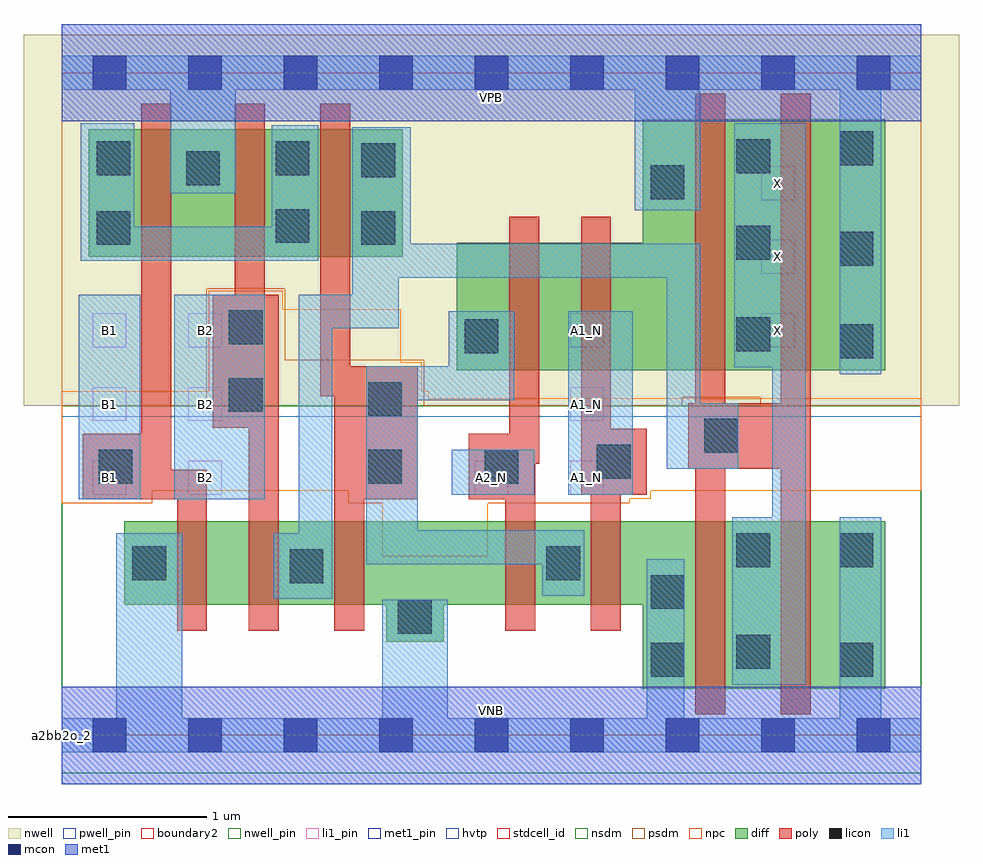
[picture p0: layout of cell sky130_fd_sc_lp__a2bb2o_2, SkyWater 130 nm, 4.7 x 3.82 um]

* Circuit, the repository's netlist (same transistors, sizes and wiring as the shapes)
* Copyright 2020 The SkyWater PDK Authors
*
* Licensed under the Apache License, Version 2.0 (the "License");
* you may not use this file except in compliance with the License.
* You may obtain a copy of the License at
*
*     https://www.apache.org/licenses/LICENSE-2.0
*
* Unless required by applicable law or agreed to in writing, software
* distributed under the License is distributed on an "AS IS" BASIS,
* WITHOUT WARRANTIES OR CONDITIONS OF ANY KIND, either express or implied.
* See the License for the specific language governing permissions and
* limitations under the License.
*
* SPDX-License-Identifier: Apache-2.0

.SUBCKT sky130_fd_sc_lp__a2bb2o_2 A1_N A2_N B1 B2 VGND VNB VPB VPWR X
*.PININFO A1_N:I A2_N:I B1:I B2:I VGND:I VNB:I VPB:I VPWR:I X:O
MMIN2 X y VGND VNB sky130_fd_pr__nfet_01v8 m=2 w=0.84U l=0.15U mult=1 sa=0.265
+ sb=0.265 sd=0.28 area=0.063 perim=1.14
MMNnor0 inor A1_N VGND VNB sky130_fd_pr__nfet_01v8 m=1 w=0.42U l=0.15U mult=1 sa=0.265
+ sb=0.265 sd=0.28 area=0.063 perim=1.14
MMNnor1 inor A2_N VGND VNB sky130_fd_pr__nfet_01v8 m=1 w=0.42U l=0.15U mult=1 sa=0.265
+ sb=0.265 sd=0.28 area=0.063 perim=1.14
MMNaoi10 VGND B1 sndNB1 VNB sky130_fd_pr__nfet_01v8 m=1 w=0.42U l=0.15U mult=1
+ sa=0.265 sb=0.265 sd=0.28 area=0.063 perim=1.14
MMNaoi11 sndNB1 B2 y VNB sky130_fd_pr__nfet_01v8 m=1 w=0.42U l=0.15U mult=1 sa=0.265
+ sb=0.265 sd=0.28 area=0.063 perim=1.14
MMNaoi20 y inor VGND VNB sky130_fd_pr__nfet_01v8 m=1 w=0.42U l=0.15U mult=1 sa=0.265
+ sb=0.265 sd=0.28 area=0.063 perim=1.14
MMIP2 X y VPWR VPB sky130_fd_pr__pfet_01v8_hvt m=2 w=1.26U l=0.15U mult=1 sa=0.265
+ sb=0.265 sd=0.28 area=0.063 perim=1.14
MMPnor0 VPWR A1_N sndPA1N VPB sky130_fd_pr__pfet_01v8_hvt m=1 w=0.64U l=0.15U mult=1
+ sa=0.265 sb=0.265 sd=0.28 area=0.063 perim=1.14
MMPnor1 sndPA1N A2_N inor VPB sky130_fd_pr__pfet_01v8_hvt m=1 w=0.64U l=0.15U mult=1
+ sa=0.265 sb=0.265 sd=0.28 area=0.063 perim=1.14
MMPaoi10 pmid B1 VPWR VPB sky130_fd_pr__pfet_01v8_hvt m=1 w=0.64U l=0.15U mult=1
+ sa=0.265 sb=0.265 sd=0.28 area=0.063 perim=1.14
MMPaoi11 pmid B2 VPWR VPB sky130_fd_pr__pfet_01v8_hvt m=1 w=0.64U l=0.15U mult=1
+ sa=0.265 sb=0.265 sd=0.28 area=0.063 perim=1.14
MMPaoi20 y inor pmid VPB sky130_fd_pr__pfet_01v8_hvt m=1 w=0.64U l=0.15U mult=1
+ sa=0.265 sb=0.265 sd=0.28 area=0.063 perim=1.14
.ENDS sky130_fd_sc_lp__a2bb2o_2

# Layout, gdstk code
import gdstk
lib = gdstk.Library(unit=1e-6, precision=1e-09)
def R(c, l, rs):  # rectangles x0, y0, x1, y1
    for r in rs: c.add(gdstk.rectangle(r[:2], r[2:], *l))
def A(c, l, x, y, w, h, nx, ny, dx, dy):  # array of equal rectangles
    R(c, l, [(x+i*dx, y+j*dy, x+i*dx+w, y+j*dy+h) for i in range(nx) for j in range(ny)])
def P(c, l, *ps):  # polygons
    for p in ps: c.add(gdstk.Polygon(p, *l))
nwell_pin = (64, 16)
nwell = (64, 20)
diff = (65, 20)
poly = (66, 20)
licon = (66, 44)
li1_pin = (67, 16)
li1 = (67, 20)
mcon = (67, 44)
met1_pin = (68, 16)
met1 = (68, 20)
hvtp = (78, 44)
stdcell_id = (81, 4)
nsdm = (93, 44)
psdm = (94, 20)
npc = (95, 20)
pwell_pin = (122, 16)
boundary2 = (236, 0)

sky130_fd_sc_lp__a2bb2o_ = lib.new_cell('sky130_fd_sc_lp__a2bb2o_2')
R(sky130_fd_sc_lp__a2bb2o_, nwell_pin, [(0,3.085,4.32,3.33)])
R(sky130_fd_sc_lp__a2bb2o_, nwell, [(-0.19,1.655,4.51,3.52)])
R(sky130_fd_sc_lp__a2bb2o_, diff, [(0.135,2.405,1.715,3.045)])
P(sky130_fd_sc_lp__a2bb2o_, diff, [(4.14,3.095),(2.92,3.095),(2.92,2.475),(1.985,2.475),(1.985,1.835),(4.14,1.835)],
  [(4.14,1.075),(0.315,1.075),(0.315,0.655),(1.63,0.655),(1.63,0.47),(1.92,0.47),(1.92,0.655),(2.92,0.655),(2.92,0.235),(4.14,0.235)])
P(sky130_fd_sc_lp__a2bb2o_, poly, [(0.73,1.335),(0.55,1.335),(0.55,3.175),(0.4,3.175),(0.4,1.515),(0.105,1.515),(0.105,1.185),(0.58,1.185),(0.58,0.525),(0.73,0.525)],
  [(1.09,2.215),(1.02,2.215),(1.02,3.175),(0.87,3.175),(0.87,2.215),(0.76,2.215),(0.76,1.545),(0.94,1.545),(0.94,0.525),(1.09,0.525)],
  [(1.79,1.855),(1.45,1.855),(1.45,3.175),(1.3,3.175),(1.3,1.705),(1.37,1.705),(1.37,0.525),(1.52,0.525),(1.52,1.185),(1.79,1.185)],
  [(2.4,2.605),(2.25,2.605),(2.25,1.515),(2.045,1.515),(2.045,1.185),(2.23,1.185),(2.23,0.525),(2.38,0.525),(2.38,1.365),(2.4,1.365)],
  [(2.94,1.54),(2.76,1.54),(2.76,2.605),(2.61,2.605),(2.61,1.21),(2.66,1.21),(2.66,0.525),(2.81,0.525),(2.81,1.21),(2.94,1.21)],
  [(3.765,3.225),(3.615,3.225),(3.615,1.67),(3.335,1.67),(3.335,3.225),(3.185,3.225),(3.185,1.67),(3.15,1.67),(3.15,1.34),(3.185,1.34),(3.185,0.105),(3.335,0.105),(3.335,1.34),(3.615,1.34),(3.615,0.105),(3.765,0.105)])
R(sky130_fd_sc_lp__a2bb2o_, licon, [(2.96,0.295,3.13,0.465), (3.91,0.295,4.08,0.465), (3.39,0.335,3.56,0.505), (1.69,0.51,1.86,0.68), (2.96,0.635,3.13,0.805), (1.145,0.765,1.315,0.935), (0.355,0.78,0.525,0.95), (2.435,0.78,2.605,0.95), (3.39,0.845,3.56,1.015), (3.91,0.845,4.08,1.015), (0.185,1.265,0.355,1.435), (1.54,1.265,1.71,1.435), (2.125,1.265,2.295,1.435), (2.69,1.29,2.86,1.46), (3.23,1.42,3.4,1.59), (1.54,1.605,1.71,1.775), (0.84,1.625,1.01,1.795), (3.91,1.895,4.08,2.065), (2.025,1.92,2.195,2.09), (3.39,1.93,3.56,2.1), (0.84,1.965,1.01,2.135), (3.91,2.36,4.08,2.53), (3.39,2.39,3.56,2.56), (0.175,2.465,0.345,2.635), (1.505,2.465,1.675,2.635), (1.075,2.475,1.245,2.645), (2.96,2.695,3.13,2.865), (0.625,2.765,0.795,2.935), (1.505,2.805,1.675,2.975), (0.175,2.815,0.345,2.985), (1.075,2.815,1.245,2.985), (3.39,2.825,3.56,2.995), (3.91,2.865,4.08,3.035)])
A(sky130_fd_sc_lp__a2bb2o_, li1_pin, 0.155, 1.21, 0.17, 0.17, 1, 3, 0, 0.37)
A(sky130_fd_sc_lp__a2bb2o_, li1_pin, 0.635, 1.21, 0.17, 0.17, 1, 3, 0, 0.37)
A(sky130_fd_sc_lp__a2bb2o_, li1_pin, 2.555, 1.21, 0.17, 0.17, 1, 3, 0, 0.37)
A(sky130_fd_sc_lp__a2bb2o_, li1_pin, 3.515, 1.95, 0.17, 0.17, 1, 3, 0, 0.37)
R(sky130_fd_sc_lp__a2bb2o_, li1_pin, [(2.075,1.21,2.245,1.38)])
R(sky130_fd_sc_lp__a2bb2o_, li1, [(0.085,1.185,0.395,2.215), (0.565,1.185,1.02,2.215), (1.96,1.21,2.375,1.435), (2.545,1.21,2.87,2.13)])
P(sky130_fd_sc_lp__a2bb2o_, li1, [(2.88,2.64),(2.88,3.245),(0.875,3.245),(0.875,2.725),(0.545,2.725),(0.545,3.245),(0,3.245),(0,3.415),(4.32,3.415),(4.32,3.245),(4.12,3.245),(4.12,1.815),(3.91,1.815),(3.91,3.245),(3.21,3.245),(3.21,2.64)],
  [(0.275,0.085),(0.275,1.015),(0.605,1.015),(0.605,0.085),(1.61,0.085),(1.61,0.68),(1.94,0.68),(1.94,0.085),(2.94,0.085),(2.94,0.885),(3.13,0.885),(3.13,0.085),(3.91,0.085),(3.91,1.095),(4.12,1.095),(4.12,0.085),(4.32,0.085),(4.32,-0.085),(0,-0.085),(0,0.085)],
  [(3.38,1.85),(3.38,3.075),(3.74,3.075),(3.74,0.255),(3.37,0.255),(3.37,1.095),(3.57,1.095),(3.57,1.85)],
  [(1.755,2.47),(3.21,2.47),(3.21,1.67),(3.4,1.67),(3.4,1.34),(3.04,1.34),(3.04,2.3),(1.695,2.3),(1.695,2.045),(1.36,2.045),(1.36,0.685),(1.065,0.685),(1.065,1.015),(1.19,1.015),(1.19,2.215),(1.46,2.215),(1.46,3.055),(1.755,3.055)],
  [(0.365,2.555),(1.055,2.555),(1.055,3.065),(1.29,3.065),(1.29,2.385),(0.095,2.385),(0.095,3.075),(0.365,3.075)],
  [(1.53,0.86),(1.53,1.855),(1.945,1.855),(1.945,2.13),(2.275,2.13),(2.275,1.685),(1.79,1.685),(1.79,1.03),(2.625,1.03),(2.625,0.7),(2.415,0.7),(2.415,0.86)])
A(sky130_fd_sc_lp__a2bb2o_, mcon, 0.155, -0.085, 0.17, 0.17, 9, 2, 0.48, 3.33)
R(sky130_fd_sc_lp__a2bb2o_, met1_pin, [(0,0,4.32,0.245), (0,3.085,4.32,3.33)])
R(sky130_fd_sc_lp__a2bb2o_, met1, [(0,-0.245,4.32,0.245), (0,3.085,4.32,3.575)])
R(sky130_fd_sc_lp__a2bb2o_, hvtp, [(0,1.6,4.32,3.33)])
R(sky130_fd_sc_lp__a2bb2o_, stdcell_id, [(0,0,4.32,3.33)])
R(sky130_fd_sc_lp__a2bb2o_, nsdm, [(0,-0.19,4.32,1.655)])
P(sky130_fd_sc_lp__a2bb2o_, psdm, [(4.32,3.52),(0,3.52),(0,1.655),(0.73,1.655),(0.73,2.245),(1.12,2.245),(1.12,1.885),(1.82,1.885),(1.82,1.655),(3.12,1.655),(3.12,1.7),(3.51,1.7),(3.51,1.655),(4.32,1.655)])
P(sky130_fd_sc_lp__a2bb2o_, npc, [(4.32,1.695),(1.845,1.695),(1.845,1.73),(1.81,1.73),(1.81,1.875),(1.705,1.875),(1.705,2.14),(1.11,2.14),(1.11,2.235),(0.74,2.235),(0.74,1.73),(0,1.73),(0,1.165),(0.455,1.165),(0.455,1.23),(1.44,1.23),(1.44,1.165),(1.61,1.165),(1.61,0.9),(2.14,0.9),(2.14,1.165),(2.855,1.165),(2.855,1.19),(2.96,1.19),(2.96,1.23),(4.32,1.23)])
R(sky130_fd_sc_lp__a2bb2o_, pwell_pin, [(0,0,4.32,0.245)])
R(sky130_fd_sc_lp__a2bb2o_, boundary2, [(0,0,4.32,3.33)])
sky130_fd_sc_lp__a2bb2o_.add(gdstk.Label('VNB', (2.16,0.123), layer=64, texttype=59))
sky130_fd_sc_lp__a2bb2o_.add(gdstk.Label('VPB', (2.16,3.208), layer=64, texttype=5))
sky130_fd_sc_lp__a2bb2o_.add(gdstk.Label('a2bb2o_2', (0,0), layer=83, texttype=44))
sky130_fd_sc_lp__a2bb2o_.add(gdstk.Label('VPWR', (2.16,3.208), layer=68, texttype=5))
sky130_fd_sc_lp__a2bb2o_.add(gdstk.Label('VGND', (2.16,0.123), layer=68, texttype=5))
sky130_fd_sc_lp__a2bb2o_.add(gdstk.Label('X', (3.6,2.035), layer=67, texttype=5))
sky130_fd_sc_lp__a2bb2o_.add(gdstk.Label('X', (3.6,2.405), layer=67, texttype=5))
sky130_fd_sc_lp__a2bb2o_.add(gdstk.Label('X', (3.6,2.775), layer=67, texttype=5))
sky130_fd_sc_lp__a2bb2o_.add(gdstk.Label('A1_N', (2.64,1.295), layer=67, texttype=5))
sky130_fd_sc_lp__a2bb2o_.add(gdstk.Label('A1_N', (2.64,1.665), layer=67, texttype=5))
sky130_fd_sc_lp__a2bb2o_.add(gdstk.Label('A1_N', (2.64,2.035), layer=67, texttype=5))
sky130_fd_sc_lp__a2bb2o_.add(gdstk.Label('A2_N', (2.16,1.295), layer=67, texttype=5))
sky130_fd_sc_lp__a2bb2o_.add(gdstk.Label('B2', (0.72,1.295), layer=67, texttype=5))
sky130_fd_sc_lp__a2bb2o_.add(gdstk.Label('B2', (0.72,1.665), layer=67, texttype=5))
sky130_fd_sc_lp__a2bb2o_.add(gdstk.Label('B2', (0.72,2.035), layer=67, texttype=5))
sky130_fd_sc_lp__a2bb2o_.add(gdstk.Label('B1', (0.24,1.295), layer=67, texttype=5))
sky130_fd_sc_lp__a2bb2o_.add(gdstk.Label('B1', (0.24,1.665), layer=67, texttype=5))
sky130_fd_sc_lp__a2bb2o_.add(gdstk.Label('B1', (0.24,2.035), layer=67, texttype=5))

lib.write_gds('sky130_fd_sc_lp__a2bb2o_2.gds')
